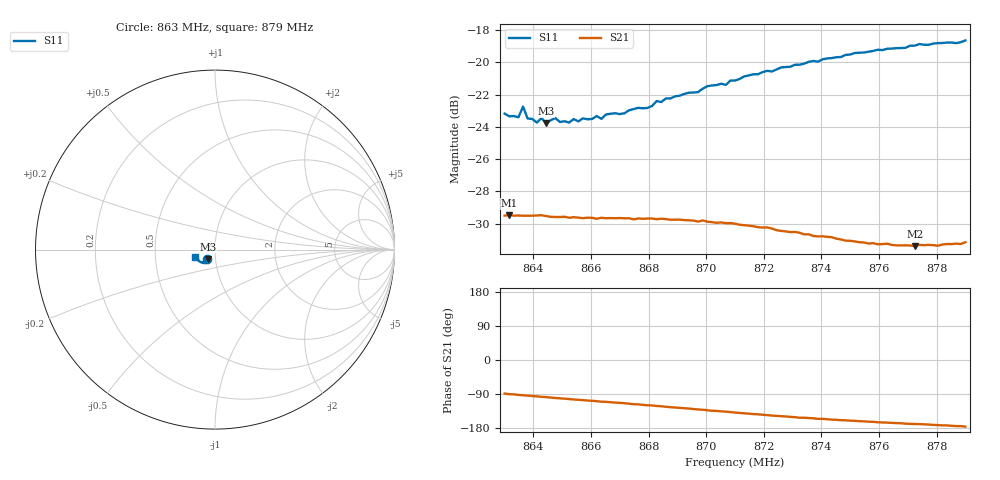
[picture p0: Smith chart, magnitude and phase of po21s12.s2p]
# HZ S RI R 50
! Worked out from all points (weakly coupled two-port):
!   101 points, 863 MHz to 879 MHz, reference 50 ohm
!   highest |S21| = -29.47 dB at 863.16 MHz (marker M1); lowest = -31.4 dB at 877.24 MHz (marker M2)
!   lowest |S11| = -23.8 dB at 864.44 MHz (marker M3), VSWR 1.14, Z = 46.1 - j4.84 ohm
!   |S11| at or under -10 dB: start of sweep to end of sweep
!   S12 and S22 are empty: the file has one direction only
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8.63e8  -0.0441 -0.0535  0.000812 -0.0335  0 0  0 0
8.6316e8  -0.0429 -0.0528  -8.7e-05 -0.0336  0 0  0 0
8.6348e8  -0.0421 -0.0529  -0.0012 -0.0335  0 0  0 0
8.6364e8  -0.0487 -0.0543  -0.00181 -0.0334  0 0  0 0
8.638e8  -0.0411 -0.0529  -0.00229 -0.0334  0 0  0 0
8.6412e8  -0.0388 -0.0523  -0.00348 -0.0334  0 0  0 0
8.6428e8  -0.0395 -0.0544  -0.0042 -0.0333  0 0  0 0
8.6444e8  -0.0383 -0.0523  -0.0046 -0.0331  0 0  0 0
8.6476e8  -0.0383 -0.0552  -0.0059 -0.0326  0 0  0 0
8.6524e8  -0.0354 -0.0546  -0.00749 -0.0321  0 0  0 0
8.6572e8  -0.0347 -0.0574  -0.00903 -0.0316  0 0  0 0
8.662e8  -0.0359 -0.058  -0.0105 -0.031  0 0  0 0
8.6636e8  -0.0338 -0.0577  -0.0113 -0.031  0 0  0 0
8.6652e8  -0.0345 -0.0597  -0.0115 -0.0308  0 0  0 0
8.6716e8  -0.0335 -0.061  -0.0134 -0.03  0 0  0 0
8.6844e8  -0.0363 -0.066  -0.0174 -0.0278  0 0  0 0
8.7004e8  -0.0437 -0.0722  -0.0217 -0.0236  0 0  0 0
8.71e8  -0.0477 -0.0737  -0.0237 -0.0209  0 0  0 0
8.7372e8  -0.0687 -0.0741  -0.026 -0.0128  0 0  0 0
8.7644e8  -0.0917 -0.0613  -0.0264 -0.00664  0 0  0 0
8.7724e8  -0.0982 -0.0552  -0.0264 -0.0052  0 0  0 0
8.79e8  -0.1104 -0.0387  -0.0276 -0.00201  0 0  0 0
